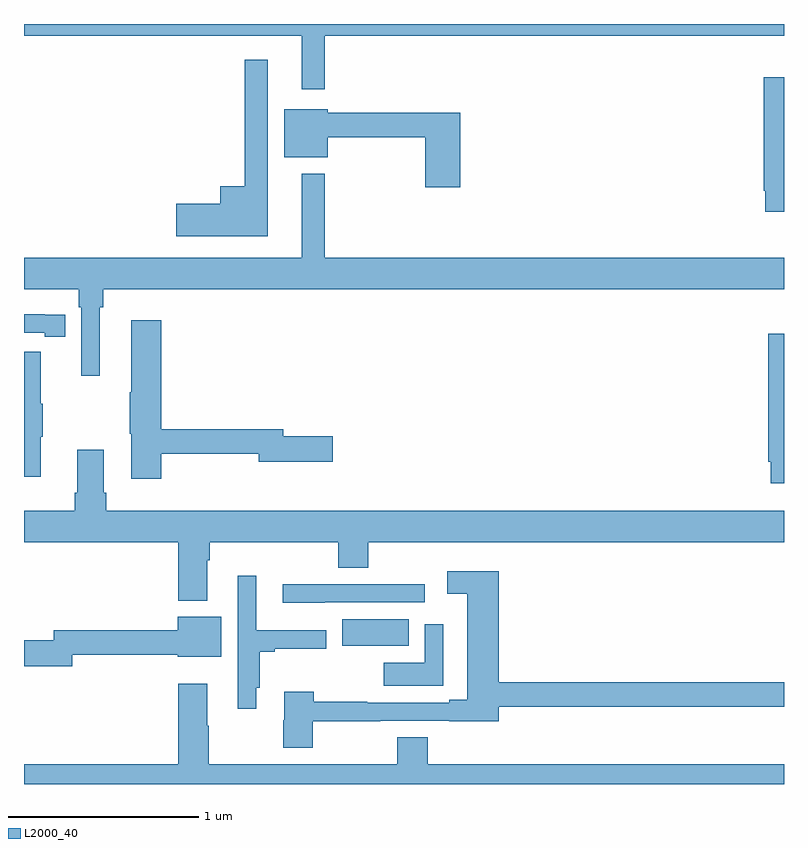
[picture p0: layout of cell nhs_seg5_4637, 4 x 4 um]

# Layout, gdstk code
import gdstk
lib = gdstk.Library(unit=1e-6, precision=1e-09)
def R(c, l, rs):  # rectangles x0, y0, x1, y1
    for r in rs: c.add(gdstk.rectangle(r[:2], r[2:], *l))
def P(c, l, *ps):  # polygons
    for p in ps: c.add(gdstk.Polygon(p, *l))
L2000_40 = (2000, 40)

nhs_seg5_4637 = lib.new_cell('nhs_seg5_4637')
R(nhs_seg5_4637, L2000_40, [(384.676,877.526,385.025,877.666)])
P(nhs_seg5_4637, L2000_40, [(384.583,880.736),(387,880.736),(387,880.799),(383,880.799),(383,880.736),(384.461,880.736),(384.461,880.455),(384.583,880.455)],
  [(384.283,880.612),(384.162,880.612),(384.162,879.946),(384.032,879.946),(384.032,879.854),(383.802,879.854),(383.802,879.683),(384.283,879.683)],
  [(387,880.52),(386.893,880.52),(386.893,879.922),(386.901,879.922),(386.901,879.81),(387,879.81)],
  [(385.295,880.333),(384.598,880.333),(384.598,880.351),(384.371,880.351),(384.371,880.097),(384.598,880.097),(384.598,880.204),(385.112,880.204),(385.112,879.939),(385.295,879.939)],
  [(383.398,879.308),(383.417,879.308),(383.417,879.404),(387,879.404),(387,879.568),(384.583,879.568),(384.583,880.012),(384.461,880.012),(384.461,879.568),(383,879.568),(383,879.404),(383.288,879.404),(383.288,879.308),(383.301,879.308),(383.301,878.949),(383.398,878.949)],
  [(383.216,879.27),(383.108,879.27),(383.108,879.271),(383,879.271),(383,879.174),(383.108,879.174),(383.108,879.154),(383.216,879.154)],
  [(383.723,878.538),(384.236,878.538),(384.236,878.495),(384.625,878.495),(384.625,878.63),(384.364,878.63),(384.364,878.666),(383.723,878.666),(383.723,879.241),(383.564,879.241),(383.564,878.861),(383.557,878.861),(383.557,878.643),(383.564,878.643),(383.564,878.406),(383.723,878.406)],
  [(387,879.169),(386.918,879.169),(386.918,878.494),(386.93,878.494),(386.93,878.382),(387,878.382)],
  [(383.087,878.627),(383.098,878.627),(383.098,878.801),(383.087,878.801),(383.087,879.073),(383,879.073),(383,878.415),(383.087,878.415)],
  [(383.965,877.976),(383.978,877.976),(383.978,878.072),(384.653,878.072),(384.653,877.936),(384.813,877.936),(384.813,878.072),(387,878.072),(387,878.236),(383.432,878.236),(383.432,878.332),(383.419,878.332),(383.419,878.557),(383.279,878.557),(383.279,878.332),(383.267,878.332),(383.267,878.236),(383,878.236),(383,878.072),(383.813,878.072),(383.813,877.763),(383.965,877.763)],
  [(384.519,877.129),(384.875,877.129),(384.875,877.131),(385.238,877.131),(385.238,877.129),(385.499,877.129),(385.499,877.206),(387,877.206),(387,877.334),(385.499,877.334),(385.499,877.918),(385.227,877.918),(385.227,877.801),(385.334,877.801),(385.334,877.243),(385.238,877.243),(385.238,877.227),(384.806,877.227),(384.806,877.232),(384.524,877.232),(384.524,877.285),(384.371,877.285),(384.371,877.134),(384.364,877.134),(384.364,876.99),(384.519,876.99)],
  [(384.223,877.306),(384.242,877.306),(384.242,877.496),(384.319,877.496),(384.319,877.51),(384.591,877.51),(384.591,877.609),(384.223,877.609),(384.223,877.894),(384.126,877.894),(384.126,877.415),(384.125,877.415),(384.125,877.194),(384.223,877.194)],
  [(384.582,877.755),(385.108,877.755),(385.108,877.851),(384.363,877.851),(384.363,877.754),(384.582,877.754)],
  [(383.253,877.48),(383.81,877.48),(383.81,877.469),(384.037,877.469),(384.037,877.678),(383.81,877.678),(383.81,877.609),(383.157,877.609),(383.157,877.556),(383,877.556),(383,877.42),(383.253,877.42)],
  [(385.206,877.639),(385.11,877.639),(385.11,877.438),(384.894,877.438),(384.894,877.317),(385.206,877.317)],
  [(387,876.904),(385.124,876.904),(385.124,877.046),(384.964,877.046),(384.964,876.904),(383.973,876.904),(383.973,877.106),(383.965,877.106),(383.965,877.327),(383.813,877.327),(383.813,876.904),(383,876.904),(383,876.799),(387,876.799)])

lib.write_gds('nhs_seg5_4637.gds')
